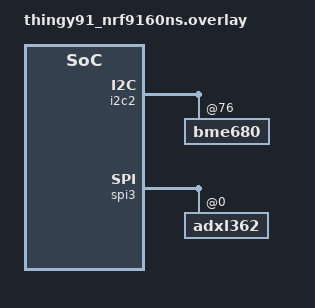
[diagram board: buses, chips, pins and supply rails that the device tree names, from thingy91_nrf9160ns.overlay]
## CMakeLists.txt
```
#
# Copyright (c) 2021 Nordic Semiconductor ASA
#
# SPDX-License-Identifier: LicenseRef-Nordic-5-Clause
#

cmake_minimum_required(VERSION 3.20.0)

find_package(Zephyr REQUIRED HINTS $ENV{ZEPHYR_BASE})
project(asset_tracker_v2)
zephyr_compile_definitions(PROJECT_NAME=${PROJECT_NAME})

# NORDIC SDK APP START
target_sources(app PRIVATE src/main.c)
# NORDIC SDK APP END

# Include source directory
target_include_directories(app PRIVATE src)
target_include_directories(app PRIVATE include/${BOARD}/)
zephyr_include_directories_ifdef(CONFIG_MEMFAULT configuration/memfault)

# Application directories
add_subdirectory(src/modules)
add_subdirectory(src/events)

# Add local copy of the BH1749 driver
add_subdirectory(drivers/bh1749)

add_subdirectory_ifdef(CONFIG_CLOUD_MODULE src/cloud)
add_subdirectory_ifdef(CONFIG_SENSOR_MODULE src/ext_sensors)
add_subdirectory_ifdef(CONFIG_WATCHDOG_APPLICATION src/watchdog)

# Include nRF modem library header file for PC builds.
# These are used throughout the application in type definitions.
if (CONFIG_BOARD_QEMU_X86 OR CONFIG_BOARD_NATIVE_POSIX)
        target_include_directories(app PRIVATE ${NRFXLIB_DIR}/nrf_modem/include/)

        # Make folder containing certificates global so that it can be located by the configured
        # cloud library.
        zephyr_include_directories(src/cloud-certs)

        target_compile_options(app PRIVATE
	        -DCONFIG_LTE_NEIGHBOR_CELLS_MAX=10)
endif()

if(CONFIG_ASSET_TRACKER_V2_LTO)
        target_compile_options(app PRIVATE "-flto")
endif()
```

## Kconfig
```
#
# Copyright (c) 2021 Nordic Semiconductor ASA
#
# SPDX-License-Identifier: LicenseRef-Nordic-5-Clause
#

# Asset Tracker v2 requires UART_INTERRUPT_DRIVEN to be enabled when SERIAL is used in order to
# receive AT Commands.
config UART_INTERRUPT_DRIVEN
	default y if SERIAL

menu "Asset Tracker v2"

config ASSET_TRACKER_V2_APP_VERSION
	string "Asset Tracker application firmware version"
	default "0.0.0-development"

config ASSET_TRACKER_V2_APP_VERSION_MAX_LEN
	int "Maximum length of the application firmware version"
	default 150

config ASSET_TRACKER_V2_LTO
	bool "Enable link time optimization"
	default y if (SIZE_OPTIMIZATIONS && !NATIVE_LIBRARY)
	# not for NATIVE_LIBRARY as otherwise the native simulator build will produce a warning when
	# mixing lto and non lto code causing twister runs to fail
	help
	  Compile the Asset Tracker application code with link time optimization enabled. This
	  option is only applied for the application code and not the libraries and external modules
	  that are linked in.

rsource "src/modules/Kconfig.modules_common"
rsource "src/modules/Kconfig.cloud_module"
rsource "src/cloud/Kconfig.lwm2m_integration"
rsource "src/modules/Kconfig.data_module"
rsource "src/modules/Kconfig.location_module"
rsource "src/modules/Kconfig.modem_module"
rsource "src/modules/Kconfig.sensor_module"
rsource "src/modules/Kconfig.ui_module"
rsource "src/modules/Kconfig.util_module"
rsource "src/modules/Kconfig.led_module"
rsource "src/modules/Kconfig.debug_module"

rsource "src/cloud/cloud_codec/Kconfig"
rsource "src/watchdog/Kconfig"
rsource "src/events/Kconfig"

rsource "drivers/bh1749/Kconfig"

endmenu

menu "Zephyr Kernel"
source "Kconfig.zephyr"
endmenu

module = APPLICATION_MODULE
module-str = Application module
source "subsys/logging/Kconfig.template.log_config"
```

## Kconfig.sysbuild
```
#
# Copyright (c) 2023 Nordic Semiconductor
#
# SPDX-License-Identifier: LicenseRef-Nordic-5-Clause
#

choice BOOTLOADER
	default BOOTLOADER_MCUBOOT if !BOARD_NATIVE_SIM
endchoice

config SECURE_BOOT_APPCORE
	default y if BOARD_NRF9160DK_NRF9160_NS \
		|| BOARD_NRF9151DK_NRF9151_NS \
		|| BOARD_NRF9161DK_NRF9161_NS

config WIFI_NRF70
	default y if BOARD_THINGY91X_NRF9151_NS

choice WIFI_NRF70_OPER_MODES
	default WIFI_NRF70_SCAN_ONLY if BOARD_THINGY91X_NRF9151_NS
endchoice

config PM_EXTERNAL_FLASH_MCUBOOT_SECONDARY
	default y if BOARD_NRF9151DK_NRF9151_NS || BOARD_NRF9161DK_NRF9161_NS
	default y if BOARD_NRF9160DK_NRF9160_NS \
		&& "${BOARD_REVISION}" != "0.1.0" \
		&& "${BOARD_REVISION}" != "0.7.0" \
		&& "${BOARD_REVISION}" != "0.7.1" \
		&& "${BOARD_REVISION}" != "0.8.0" \
		&& "${BOARD_REVISION}" != "0.8.2" \
		&& "${BOARD_REVISION}" != "0.8.3" \
		&& "${BOARD_REVISION}" != "0.8.5" \
		&& "${BOARD_REVISION}" != "0.9.0"

source "share/sysbuild/Kconfig"
```

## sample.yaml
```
sample:
  name: Asset Tracker v2 Application
tests:
  applications.asset_tracker_v2.nrf_cloud:
    sysbuild: true
    build_only: true
    build_on_all: true
    platform_allow:
      - nrf9160dk/nrf9160/ns
      - nrf9161dk/nrf9161/ns
      - nrf9151dk/nrf9151/ns
      - thingy91/nrf9160/ns
      - thingy91x/nrf9151/ns
      - native_sim
    integration_platforms:
      - nrf9160dk/nrf9160/ns
      - thingy91/nrf9160/ns
      - thingy91x/nrf9151/ns
      - native_sim
    tags:
      - ci_build
      - sysbuild
      - ci_applications_asset_tracker_v2
  applications.asset_tracker_v2.nrf_cloud-pgps:
    sysbuild: true
    build_only: true
    build_on_all: true
    platform_allow:
      - nrf9160dk/nrf9160/ns
      - nrf9161dk/nrf9161/ns
      - nrf9151dk/nrf9151/ns
      - thingy91/nrf9160/ns
    integration_platforms:
      - nrf9160dk/nrf9160/ns
      - thingy91/nrf9160/ns
    extra_args: EXTRA_CONF_FILE=overlay-pgps.conf
    tags:
      - ci_build
      - sysbuild
      - ci_applications_asset_tracker_v2
  applications.asset_tracker_v2.nrf_cloud-no-agnss:
    sysbuild: true
    build_only: true
    build_on_all: true
    platform_allow:
      - nrf9160dk/nrf9160/ns
      - nrf9161dk/nrf9161/ns
      - nrf9151dk/nrf9151/ns
      - thingy91/nrf9160/ns
      - thingy91x/nrf9151/ns
    integration_platforms:
      - nrf9160dk/nrf9160/ns
      - thingy91/nrf9160/ns
    extra_args: CONFIG_NRF_CLOUD_AGNSS=n
    tags:
      - ci_build
      - sysbuild
      - ci_applications_asset_tracker_v2
  applications.asset_tracker_v2.aws:
    sysbuild: true
    build_only: true
    build_on_all: true
    platform_allow:
      - nrf9160dk/nrf9160/ns
      - nrf9161dk/nrf9161/ns
      - nrf9151dk/nrf9151/ns
      - thingy91/nrf9160/ns
      - thingy91x/nrf9151/ns
      - native_sim
    integration_platforms:
      - nrf9160dk/nrf9160/ns
      - thingy91/nrf9160/ns
      - native_sim
    extra_configs:
      - CONFIG_AWS_IOT_BROKER_HOST_NAME="example-hostname.aws.com"
    extra_args: EXTRA_CONF_FILE="overlay-aws.conf"
    tags:
      - ci_build
      - sysbuild
      - ci_applications_asset_tracker_v2
  applications.asset_tracker_v2.aws-pgps:
    sysbuild: true
    build_only: true
    build_on_all: true
    platform_allow:
      - nrf9160dk/nrf9160/ns
      - nrf9161dk/nrf9161/ns
      - nrf9151dk/nrf9151/ns
      - thingy91/nrf9160/ns
      - thingy91x/nrf9151/ns
    integration_platforms:
      - nrf9160dk/nrf9160/ns
      - thingy91/nrf9160/ns
    extra_configs:
      - CONFIG_AWS_IOT_BROKER_HOST_NAME="example-hostname.aws.com"
    extra_args: EXTRA_CONF_FILE="overlay-aws.conf;overlay-pgps.conf"
    tags:
      - ci_build
      - sysbuild
      - ci_applications_asset_tracker_v2
  applications.asset_tracker_v2.aws-all:
    sysbuild: true
    build_only: true
    build_on_all: true
    platform_allow:
      - nrf9160dk/nrf9160/ns
      - nrf9161dk/nrf9161/ns
      - nrf9151dk/nrf9151/ns
      - thingy91/nrf9160/ns
    integration_platforms:
      - nrf9160dk/nrf9160/ns
      - thingy91/nrf9160/ns
    extra_configs:
      - CONFIG_AWS_IOT_BROKER_HOST_NAME="example-hostname.aws.com"
      - CONFIG_MEMFAULT_NCS_PROJECT_KEY="PROJECTKEY"
    extra_args: >
      EXTRA_CONF_FILE="overlay-aws.conf;overlay-pgps.conf;overlay-debug.conf;overlay-memfault.conf"
    tags:
      - ci_build
      - sysbuild
      - ci_applications_asset_tracker_v2
  applications.asset_tracker_v2.azure:
    sysbuild: true
    build_only: true
    build_on_all: true
    platform_allow:
      - nrf9160dk/nrf9160/ns
      - nrf9161dk/nrf9161/ns
      - nrf9151dk/nrf9151/ns
      - thingy91/nrf9160/ns
      - thingy91x/nrf9151/ns
      - native_sim
    integration_platforms:
      - nrf9160dk/nrf9160/ns
      - thingy91/nrf9160/ns
      - native_sim
    extra_configs:
      - CONFIG_AZURE_IOT_HUB_DPS_HOSTNAME="global.azure-devices-provisioning.net"
      - CONFIG_AZURE_IOT_HUB_DPS_ID_SCOPE="IDSCOPE"
    extra_args: EXTRA_CONF_FILE="overlay-azure.conf"
    tags:
      - ci_build
      - sysbuild
      - ci_applications_asset_tracker_v2
  applications.asset_tracker_v2.debug:
    sysbuild: true
    build_only: true
    build_on_all: true
    platform_allow:
      - nrf9160dk/nrf9160/ns
      - nrf9161dk/nrf9161/ns
      - nrf9151dk/nrf9151/ns
      - thingy91/nrf9160/ns
      - thingy91x/nrf9151/ns
      - native_sim
    integration_platforms:
      - nrf9160dk/nrf9160/ns
      - thingy91/nrf9160/ns
      - native_sim
    extra_args: EXTRA_CONF_FILE=overlay-debug.conf
    tags:
      - ci_build
      - sysbuild
      - ci_applications_asset_tracker_v2
  applications.asset_tracker_v2.debug-memfault:
    sysbuild: true
    build_only: true
    build_on_all: true
    platform_allow:
      - nrf9160dk/nrf9160/ns
      - nrf9161dk/nrf9161/ns
      - nrf9151dk/nrf9151/ns
      - thingy91/nrf9160/ns
      - thingy91x/nrf9151/ns
    integration_platforms:
      - nrf9160dk/nrf9160/ns
      - thingy91/nrf9160/ns
    extra_configs:
      - CONFIG_MEMFAULT_NCS_PROJECT_KEY="PROJECTKEY"
    extra_args: EXTRA_CONF_FILE="overlay-debug.conf;overlay-memfault.conf"
    tags:
      - ci_build
      - sysbuild
      - ci_applications_asset_tracker_v2
  applications.asset_tracker_v2.memfault:
    sysbuild: true
    build_only: true
    build_on_all: true
    platform_allow:
      - nrf9160dk/nrf9160/ns
      - nrf9161dk/nrf9161/ns
      - nrf9151dk/nrf9151/ns
      - thingy91/nrf9160/ns
      - thingy91x/nrf9151/ns
    integration_platforms:
      - nrf9160dk/nrf9160/ns
      - thingy91/nrf9160/ns
    extra_configs:
      - CONFIG_MEMFAULT_NCS_PROJECT_KEY="PROJECTKEY"
    extra_args: EXTRA_CONF_FILE=overlay-memfault.conf
    tags:
      - ci_build
      - sysbuild
      - ci_applications_asset_tracker_v2
  applications.asset_tracker_v2.low-power:
    sysbuild: true
    build_only: true
    build_on_all: true
    platform_allow:
      - nrf9160dk/nrf9160/ns
      - nrf9161dk/nrf9161/ns
      - nrf9151dk/nrf9151/ns
      - thingy91/nrf9160/ns
      - thingy91x/nrf9151/ns
    integration_platforms:
      - nrf9160dk/nrf9160/ns
      - thingy91/nrf9160/ns
    extra_args: EXTRA_CONF_FILE=overlay-low-power.conf
    tags:
      - ci_build
      - sysbuild
      - ci_applications_asset_tracker_v2
  applications.asset_tracker_v2.carrier.nrf9160dk:
    sysbuild: true
    build_only: true
    build_on_all: true
    platform_allow:
      - nrf9160dk/nrf9160/ns
    integration_platforms:
      - nrf9160dk/nrf9160/ns
    extra_args: EXTRA_CONF_FILE=overlay-carrier.conf
    tags:
      - ci_build
      - sysbuild
      - ci_applications_asset_tracker_v2
  applications.asset_tracker_v2.carrier.thingy91:
    sysbuild: true
    build_only: true
    build_on_all: true
    platform_allow:
      - thingy91/nrf9160/ns
    extra_args:
      - EXTRA_CONF_FILE=overlay-carrier.conf
      - SB_CONFIG_THINGY91_STATIC_PARTITIONS_LWM2M_CARRIER=y
    tags:
      - ci_build
      - sysbuild
      - ci_applications_asset_tracker_v2
  applications.asset_tracker_v2.carrier.nrf9161dk:
    sysbuild: true
    build_only: true
    build_on_all: true
    platform_allow: nrf9161dk/nrf9161/ns
    integration_platforms:
      - nrf9161dk/nrf9161/ns
    extra_args: EXTRA_CONF_FILE=overlay-carrier.conf
    tags:
      - ci_build
      - sysbuild
      - ci_applications_asset_tracker_v2
  applications.asset_tracker_v2.carrier.nrf9151dk:
    sysbuild: true
    build_only: true
    build_on_all: true
    platform_allow: nrf9151dk/nrf9151/ns
    integration_platforms:
      - nrf9151dk/nrf9151/ns
    extra_args: EXTRA_CONF_FILE=overlay-carrier.conf
    tags:
      - ci_build
      - sysbuild
      - ci_applications_asset_tracker_v2
  applications.asset_tracker_v2.lwm2m.bootstrap-low_power:
    sysbuild: true
    build_only: true
    build_on_all: true
    platform_allow:
      - nrf9160dk/nrf9160/ns
      - nrf9161dk/nrf9161/ns
      - nrf9151dk/nrf9151/ns
      - thingy91/nrf9160/ns
      - thingy91x/nrf9151/ns
    integration_platforms:
      - nrf9160dk/nrf9160/ns
      - thingy91/nrf9160/ns
    extra_configs:
      - CONFIG_LWM2M_RD_CLIENT_SUPPORT_BOOTSTRAP=y
    extra_args: EXTRA_CONF_FILE="overlay-lwm2m.conf;overlay-low-power.conf"
    tags:
      - ci_build
      - sysbuild
      - ci_applications_asset_tracker_v2
  applications.asset_tracker_v2.lwm2m.debug:
    sysbuild: true
    build_only: true
    build_on_all: true
    platform_allow:
      - nrf9160dk/nrf9160/ns
      - nrf9161dk/nrf9161/ns
      - nrf9151dk/nrf9151/ns
    integration_platforms:
      - nrf9160dk/nrf9160/ns
    extra_args: EXTRA_CONF_FILE="overlay-lwm2m.conf;overlay-debug.conf"
    tags:
      - ci_build
      - sysbuild
      - ci_applications_asset_tracker_v2
  applications.asset_tracker_v2.lwm2m.debug-modem_trace:
    sysbuild: true
    build_only: true
    build_on_all: true
    platform_allow:
      - nrf9160dk/nrf9160/ns
      - nrf9161dk/nrf9161/ns
      - nrf9151dk/nrf9151/ns
    integration_platforms:
      - nrf9160dk/nrf9160/ns
    extra_args:
      - EXTRA_CONF_FILE="overlay-lwm2m.conf;overlay-debug.conf"
      - asset_tracker_v2_SNIPPET="nrf91-modem-trace-uart;tfm-enable-share-uart"
    tags:
      - ci_build
      - sysbuild
      - ci_applications_asset_tracker_v2
  applications.asset_tracker_v2.lwm2m.modem_trace:
    sysbuild: true
    build_only: true
    build_on_all: true
    platform_allow:
      - nrf9160dk/nrf9160/ns
      - nrf9161dk/nrf9161/ns
      - nrf9151dk/nrf9151/ns
      - thingy91/nrf9160/ns
    integration_platforms:
      - nrf9160dk/nrf9160/ns
      - thingy91/nrf9160/ns
    extra_args:
      - EXTRA_CONF_FILE="overlay-lwm2m.conf"
      - asset_tracker_v2_SNIPPET="nrf91-modem-trace-uart;tfm-enable-share-uart"
    tags:
      - ci_build
      - sysbuild
      - ci_applications_asset_tracker_v2
  applications.asset_tracker_v2.lwm2m.memfault:
    sysbuild: true
    build_only: true
    build_on_all: true
    platform_allow:
      - nrf9160dk/nrf9160/ns
      - nrf9161dk/nrf9161/ns
      - nrf9151dk/nrf9151/ns
      - thingy91/nrf9160/ns
    integration_platforms:
      - nrf9160dk/nrf9160/ns
      - nrf9161dk/nrf9161/ns
      - nrf9151dk/nrf9151/ns
      - thingy91/nrf9160/ns
    extra_configs:
      - CONFIG_MEMFAULT_NCS_PROJECT_KEY="PROJECTKEY"
      - CONFIG_LOG_MODE_MINIMAL=y
    extra_args: EXTRA_CONF_FILE="overlay-lwm2m.conf;overlay-memfault.conf"
    tags:
      - ci_build
      - sysbuild
      - ci_applications_asset_tracker_v2
  applications.asset_tracker_v2.memfault-low-power:
    sysbuild: true
    build_only: true
    build_on_all: true
    platform_allow:
      - nrf9160dk/nrf9160/ns
      - nrf9161dk/nrf9161/ns
      - nrf9151dk/nrf9151/ns
      - thingy91/nrf9160/ns
      - thingy91x/nrf9151/ns
    integration_platforms:
      - nrf9160dk/nrf9160/ns
      - nrf9161dk/nrf9161/ns
      - nrf9151dk/nrf9151/ns
      - thingy91/nrf9160/ns
    extra_configs:
      - CONFIG_MEMFAULT_NCS_PROJECT_KEY="PROJECTKEY"
    extra_args: EXTRA_CONF_FILE="overlay-low-power.conf;overlay-memfault.conf"
    tags:
      - ci_build
      - sysbuild
      - ci_applications_asset_tracker_v2
  applications.asset_tracker_v2.nrf7002ek_wifi.nrf9160dk:
    sysbuild: true
    build_only: true
    integration_platforms:
      - nrf9160dk/nrf9160/ns
    platform_allow: nrf9160dk/nrf9160/ns
    extra_args:
      - SHIELD=nrf7002ek_nrf7000
      - EXTRA_CONF_FILE=overlay-nrf7002ek-wifi-scan-only.conf
      - SB_CONFIG_WIFI_NRF70=y
      - SB_CONFIG_WIFI_NRF70_SCAN_ONLY=y
    tags:
      - ci_build
      - sysbuild
      - ci_applications_asset_tracker_v2
  applications.asset_tracker_v2.nrf7002ek_wifi.nrf9161dk:
    sysbuild: true
    build_only: true
    integration_platforms:
      - nrf9161dk/nrf9161/ns
    platform_allow: nrf9161dk/nrf9161/ns
    extra_args:
      - SHIELD=nrf7002ek_nrf7000
      - EXTRA_CONF_FILE=overlay-nrf7002ek-wifi-scan-only.conf
      - SB_CONFIG_WIFI_NRF70=y
      - SB_CONFIG_WIFI_NRF70_SCAN_ONLY=y
    tags:
      - ci_build
      - sysbuild
      - ci_applications_asset_tracker_v2
  applications.asset_tracker_v2.nrf7002ek_wifi.nrf9151dk:
    sysbuild: true
    build_only: true
    integration_platforms:
      - nrf9151dk/nrf9151/ns
    platform_allow: nrf9151dk/nrf9151/ns
    extra_args:
      - SHIELD=nrf7002ek_nrf7000
      - EXTRA_CONF_FILE=overlay-nrf7002ek-wifi-scan-only.conf
      - SB_CONFIG_WIFI_NRF70=y
      - SB_CONFIG_WIFI_NRF70_SCAN_ONLY=y
    tags:
      - ci_build
      - sysbuild
      - ci_applications_asset_tracker_v2
  applications.asset_tracker_v2.nrf7002ek_wifi-debug:
    sysbuild: true
    build_only: true
    integration_platforms:
      - nrf9160dk/nrf9160/ns
      - nrf9161dk/nrf9161/ns
      - nrf9151dk/nrf9151/ns
    platform_allow:
      - nrf9160dk/nrf9160/ns
      - nrf9161dk/nrf9161/ns
      - nrf9151dk/nrf9151/ns
    extra_args:
      - SHIELD=nrf7002ek_nrf7000
      - EXTRA_CONF_FILE="overlay-nrf7002ek-wifi-scan-only.conf;overlay-debug.conf"
      - SB_CONFIG_WIFI_NRF70=y
      - SB_CONFIG_WIFI_NRF70_SCAN_ONLY=y
    tags:
      - ci_build
      - sysbuild
      - ci_applications_asset_tracker_v2
  # Configuration which will be used by the positioning CI integration job to verify PRs
  applications.asset_tracker_v2.integration_config_positioning:
    sysbuild: true
    build_only: true
    extra_configs:
      - CONFIG_MODEM_ANTENNA_GNSS_EXTERNAL=y
      - CONFIG_LOCATION_LOG_LEVEL_DBG=y
      - CONFIG_LOG_BUFFER_SIZE=2048
    extra_args: asset_tracker_v2_SNIPPET="nrf91-modem-trace-uart"
    integration_platforms:
      - nrf9151dk/nrf9151/ns
    platform_allow:
      - nrf9151dk/nrf9151/ns
    tags:
      - ci_build
      - sysbuild
      - ci_applications_asset_tracker_v2
```

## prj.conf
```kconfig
#
# Copyright (c) 2021 Nordic Semiconductor ASA
#
# SPDX-License-Identifier: LicenseRef-Nordic-5-Clause
#

# General config
CONFIG_PICOLIBC=y
CONFIG_ASSERT=y
CONFIG_REBOOT=y
CONFIG_FPU=y

# Heap and stacks
CONFIG_HEAP_MEM_POOL_SIZE=47250
CONFIG_MAIN_STACK_SIZE=2048
CONFIG_SYSTEM_WORKQUEUE_STACK_SIZE=4096
CONFIG_HW_STACK_PROTECTION=y
# Increase AT monitor heap size to be able to fit both neighbor cell measurement
# and other AT notifications that may come in rapid succession.
CONFIG_AT_MONITOR_HEAP_SIZE=1024

# Logging
CONFIG_LOG=y
CONFIG_LOG_MODE_DEFERRED=y

# nRF modem library
CONFIG_NRF_MODEM_LIB=y
CONFIG_NRF_MODEM_LIB_ON_FAULT_APPLICATION_SPECIFIC=y

# AT Host library - Used to send AT commands directy from an UART terminal and to allow
#		    integration with nRF Connect for Desktop LTE Link monitor application.
CONFIG_AT_HOST_LIBRARY=y

# Network
CONFIG_NETWORKING=y
CONFIG_NET_NATIVE=n
CONFIG_NET_SOCKETS=y
CONFIG_NET_SOCKETS_OFFLOAD=y
CONFIG_NET_IPV6=y
CONFIG_NET_IPV4=y

# LTE link control
## Power saving timers.
### 320 hours PSM.
CONFIG_LTE_PSM_REQ=y
CONFIG_LTE_PSM_REQ_RPTAU="11000001"
### 20 seconds active time.
CONFIG_LTE_PSM_REQ_RAT="00001010"
### Enable required modules
CONFIG_LTE_LC_EDRX_MODULE=y
CONFIG_LTE_LC_NEIGHBOR_CELL_MEAS_MODULE=y
CONFIG_LTE_LC_PSM_MODULE=y
CONFIG_LTE_LC_MODEM_SLEEP_MODULE=y

# Settings - Used to store real-time device configuration to flash.
CONFIG_SETTINGS=y
CONFIG_SETTINGS_FCB=y
CONFIG_FCB=y

# FOTA
CONFIG_FOTA_DOWNLOAD=y
CONFIG_DFU_TARGET=y
CONFIG_DOWNLOADER=y
CONFIG_DOWNLOADER_STACK_SIZE=4096
CONFIG_DOWNLOADER_MAX_HOSTNAME_SIZE=128

# Flash - Used in FOTA, settings and storage for P-GPS.
CONFIG_FLASH=y
CONFIG_FLASH_PAGE_LAYOUT=y
CONFIG_FLASH_MAP=y
CONFIG_STREAM_FLASH=y
CONFIG_MPU_ALLOW_FLASH_WRITE=y

# MCUBOOT
CONFIG_BOOTLOADER_MCUBOOT=y
CONFIG_IMG_MANAGER=y
CONFIG_MCUBOOT_IMG_MANAGER=y
CONFIG_IMG_ERASE_PROGRESSIVELY=y
CONFIG_SECURE_BOOT=y

# Watchdog
CONFIG_WATCHDOG_APPLICATION=y

# Application Event Manager
CONFIG_APP_EVENT_MANAGER=y
CONFIG_APP_EVENT_MANAGER_LOG_EVENT_TYPE=n

# cJSON - Used in cloud data encoding.
CONFIG_CJSON_LIB=y

# CAF - Common Application Framework
CONFIG_CAF=y
CONFIG_LED=y
CONFIG_CAF_LEDS=y
CONFIG_CAF_INIT_LOG_LED_READY_EVENTS=n
CONFIG_CAF_INIT_LOG_LED_EVENTS=n
CONFIG_CAF_INIT_LOG_MODULE_STATE_EVENTS=n

# Location related configuration
CONFIG_LOCATION=y
CONFIG_LOCATION_REQUEST_DEFAULT_METHOD_FIRST_GNSS=y
CONFIG_LOCATION_REQUEST_DEFAULT_METHOD_SECOND_CELLULAR=y
CONFIG_LOCATION_REQUEST_DEFAULT_GNSS_TIMEOUT=90000
CONFIG_LOCATION_DATA_DETAILS=y
CONFIG_LOCATION_LOG_LEVEL_WRN=y

# Default cloud transport service
CONFIG_NRF_CLOUD_MQTT=y
CONFIG_HW_ID_LIBRARY=y
CONFIG_HW_ID_LIBRARY_SOURCE_IMEI=y

# nRF Cloud support
CONFIG_NRF_CLOUD=y
```

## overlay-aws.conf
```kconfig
#
# Copyright (c) 2021 Nordic Semiconductor ASA
#
# SPDX-License-Identifier: LicenseRef-Nordic-5-Clause
#

CONFIG_AWS_IOT=y
CONFIG_AWS_IOT_TOPIC_UPDATE_DELTA_SUBSCRIBE=y
CONFIG_AWS_IOT_TOPIC_GET_REJECTED_SUBSCRIBE=y
CONFIG_AWS_IOT_AUTO_DEVICE_SHADOW_REQUEST=y
CONFIG_MQTT_HELPER_RX_TX_BUFFER_SIZE=2048

# Options that must be configured in order to establish a connection.
CONFIG_MQTT_HELPER_SEC_TAG=42
CONFIG_AWS_IOT_BROKER_HOST_NAME=""

# MQTT Transport library
# Maximum specified MQTT keepalive timeout for AWS IoT is 1200 seconds.
CONFIG_MQTT_KEEPALIVE=1200
```

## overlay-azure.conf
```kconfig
#
# Copyright (c) 2021 Nordic Semiconductor ASA
#
# SPDX-License-Identifier: LicenseRef-Nordic-5-Clause
#

CONFIG_AZURE_IOT_HUB=y
CONFIG_AZURE_IOT_HUB_DPS=y
CONFIG_AZURE_IOT_HUB_AUTO_DEVICE_TWIN_REQUEST=y

# Increase the number of maximum message properties that can be parsed by the Azure IoT Hub library.
# Needed to be able to parse P-GPS responses.
CONFIG_AZURE_IOT_HUB_MSG_PROPERTY_RECV_MAX_COUNT=4

# Azure IoT Hub options that must be configured in order to establish a connection.
CONFIG_AZURE_IOT_HUB_DPS_HOSTNAME="global.azure-devices-provisioning.net"
CONFIG_AZURE_IOT_HUB_DPS_ID_SCOPE=""

# MQTT helper library
CONFIG_MQTT_HELPER_RX_TX_BUFFER_SIZE=2048
CONFIG_MQTT_HELPER_STACK_SIZE=4096
CONFIG_MQTT_HELPER_SEC_TAG=11

# MQTT Transport library
# Maximum specified MQTT keepalive timeout for Azure IoT Hub is 1177 seconds.
CONFIG_MQTT_KEEPALIVE=1177
```

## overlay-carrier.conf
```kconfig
#
# Copyright (c) 2021 Nordic Semiconductor ASA
#
# SPDX-License-Identifier: LicenseRef-Nordic-5-Clause
#

CONFIG_LWM2M_CARRIER=y

# LwM2M carrier is only compiled for hard-float
CONFIG_FP_HARDABI=y

# SMS library
CONFIG_SMS=y

# PDN management support
CONFIG_PDN=y

# AT Monitor is used by PDN library
CONFIG_AT_MONITOR=y

# Downloader for DFU
CONFIG_DOWNLOADER_MAX_FILENAME_SIZE=230

# Modem info
CONFIG_MODEM_INFO_BUFFER_SIZE=512

# Non-volatile Storage
CONFIG_NVS=y
CONFIG_MPU_ALLOW_FLASH_WRITE=y

# Default partition for NVS is unused
CONFIG_PM_PARTITION_SIZE_NVS_STORAGE=0

# DFU target library
CONFIG_DFU_TARGET=y

# Asserts
CONFIG_ASSERT_VERBOSE=n

# IPv4 (IPv6 is enabled by default)
CONFIG_NET_IPV4=y
```

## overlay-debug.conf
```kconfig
#
# Copyright (c) 2021 Nordic Semiconductor ASA
#
# SPDX-License-Identifier: LicenseRef-Nordic-5-Clause
#

# Forces a maximal log level for all modules.
# Modules saturates their specified level if it is greater than this option,
# otherwise they use the level specified by this option instead of their default
# or whatever was manually set. Levels are:
#
# 0 OFF, logging is turned off
# 1 ERROR, maximal level set to LOG_LEVEL_ERR
# 2 WARNING, maximal level set to LOG_LEVEL_WRN
# 3 INFO, maximal level set to LOG_LEVEL_INFO
# 4 DEBUG, maximal level set to LOG_LEVEL_DBG
CONFIG_LOG_MAX_LEVEL=4

# Increase log buffer size to prevent logs being dropped.
CONFIG_LOG_BUFFER_SIZE=2048

# Disable routing of printk() through the logging subsystem.
# This is a workaround to ensure that long strings are printed properly.
CONFIG_LOG_PRINTK=n

# Module debug configurations.
CONFIG_APPLICATION_MODULE_LOG_LEVEL_DBG=y
CONFIG_CLOUD_MODULE_LOG_LEVEL_DBG=y
CONFIG_DATA_MODULE_LOG_LEVEL_DBG=y
CONFIG_LOCATION_MODULE_LOG_LEVEL_DBG=y
CONFIG_MODEM_MODULE_LOG_LEVEL_DBG=y
CONFIG_SENSOR_MODULE_LOG_LEVEL_DBG=y
CONFIG_UI_MODULE_LOG_LEVEL_DBG=y
CONFIG_UTIL_MODULE_LOG_LEVEL_DBG=y
CONFIG_DEBUG_MODULE_LOG_LEVEL_DBG=y

# Cloud integration layer debug logging
CONFIG_CLOUD_INTEGRATION_LOG_LEVEL_DBG=y

# Application Watchdog debug logging
CONFIG_WATCHDOG_LOG_LEVEL_DBG=y

# Cloud codec debug logging
CONFIG_CLOUD_CODEC_LOG_LEVEL_DBG=y

# Location library
CONFIG_LOCATION_LOG_LEVEL_DBG=y

# nRF Cloud
CONFIG_NRF_CLOUD_LOG_LEVEL_DBG=y

# Date time
CONFIG_DATE_TIME_LOG_LEVEL_DBG=y

# Settings
CONFIG_SETTINGS_LOG_LEVEL_DBG=y

# Flash
CONFIG_STREAM_FLASH_LOG_LEVEL_DBG=y

# Debug module
CONFIG_DEBUG_MODULE=y

# QoS library
CONFIG_QOS_LOG_LEVEL_DBG=y
```

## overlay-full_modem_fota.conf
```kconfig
#
# Copyright (c) 2022 Nordic Semiconductor ASA
#
# SPDX-License-Identifier: LicenseRef-Nordic-5-Clause
#

# Full Modem FOTA
CONFIG_NRF_CLOUD_FOTA_FULL_MODEM_UPDATE=y
CONFIG_MAIN_STACK_SIZE=2048
# Disable AT host library as it's incompatible with the FMFU's requirement
# to initialize the modem library
CONFIG_AT_HOST_LIBRARY=n
CONFIG_SPI=y
CONFIG_SPI_NOR=y
```

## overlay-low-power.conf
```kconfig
#
# Copyright (c) 2021 Nordic Semiconductor ASA
#
# SPDX-License-Identifier: LicenseRef-Nordic-5-Clause
#

# This file contains configurations to achieve the lowest power consumption by
# disabling LEDs and logging over UART.

# Disable serial interface.
CONFIG_SERIAL=n

# Disable LEDs
CONFIG_LED_CONTROL=n

# Disable UART console.
CONFIG_UART_CONSOLE=n

# Disable event logging.
CONFIG_APP_EVENT_MANAGER_SHOW_EVENTS=n

# Disable AT host library.
CONFIG_AT_HOST_LIBRARY=n

# Disable logging
CONFIG_LOG=n

# Disable TFM logging
CONFIG_TFM_LOG_LEVEL_SILENCE=y
```

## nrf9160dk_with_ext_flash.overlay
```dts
/*
 * Copyright (c) 2023 Nordic Semiconductor ASA
 *
 * SPDX-License-Identifier: LicenseRef-Nordic-5-Clause
 */

 /* The mx25r64 definition would normally be included when specifying a nrf9160dk_nrf9160_ns
  * board revision >= 0.14.0, but unfortunately twister has a bug that prevents the revision
  * overlay to get loaded when testing the sample. */
  &spi3 {
	cs-gpios = <&arduino_header 16 GPIO_ACTIVE_LOW>, /* D10 */
		   <&gpio0 25 GPIO_ACTIVE_LOW>;
	mx25r64: mx25r6435f@1 {
		compatible = "jedec,spi-nor";
		reg = <1>;
		status = "okay";
		spi-max-frequency = <8000000>;
		jedec-id = [c2 28 17];
		sfdp-bfp = [
			e5 20 f1 ff  ff ff ff 03  44 eb 08 6b  08 3b 04 bb
			ee ff ff ff  ff ff 00 ff  ff ff 00 ff  0c 20 0f 52
			10 d8 00 ff  23 72 f5 00  82 ed 04 cc  44 83 68 44
			30 b0 30 b0  f7 c4 d5 5c  00 be 29 ff  f0 d0 ff ff
		];
		size = <67108864>;
		mxicy,mx25r-power-mode = "high-performance";
	};
};

/ {
	aliases {
		ext-flash = &mx25r64;
	};

	/* Configure partition manager to use mx25r64 as the external flash */
	chosen {
		nordic,pm-ext-flash = &mx25r64;
	};
};
```

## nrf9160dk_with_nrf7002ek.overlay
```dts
/*
 * Copyright (c) 2022 Nordic Semiconductor ASA
 *
 * SPDX-License-Identifier: LicenseRef-Nordic-5-Clause
 */

/* Use high drive mode on SPI pins that handle communication with nRF7002
 * so that SCK frequency > 4 MHz can be used. */
 &spi3_default {
	group1 {
		nordic,drive-mode = <NRF_DRIVE_H0H1>;
	};
};

/* Disabled because of conflicts on P0.00 and P0.01 - Arduino pins D0 and D1
 * (iovdd-ctrl-gpios and bucken-gpios in nrf7002ek_nrf7002, respectively). */
&uart1 {
	status = "disabled";
};
```

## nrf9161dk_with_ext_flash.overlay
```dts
/*
 * Copyright (c) 2023 Nordic Semiconductor ASA
 *
 * SPDX-License-Identifier: LicenseRef-Nordic-5-Clause
 */

 &spi3 {
	compatible = "nordic,nrf-spim";
	status = "okay";
	cs-gpios = <&arduino_header 16 GPIO_ACTIVE_LOW>, /* D10 */
		   <&gpio0 20 GPIO_ACTIVE_LOW>;


	gd25lb256: gd25lb256e3ir@1 {
		compatible = "jedec,spi-nor";
		status = "disabled";
		reg = <1>;
		spi-max-frequency = <60000000>;
		jedec-id = [c8 67 19];
		sfdp-bfp = [
			e5 20 ea ff  ff ff ff 0f  44 eb 08 6b  00 3b 00 bb
			fe ff ff ff  ff ff 00 ff  ff ff 44 eb  0c 20 0f 52
			10 d8 00 ff  d5 31 b1 fe  82 e4 14 4c  ec 60 06 33
			7a 75 7a 75  04 bd d5 5c  29 06 74 00  08 50 00 01
		];
		size = <268435456>;
		has-dpd;
		t-enter-dpd = <3000>;
		t-exit-dpd = <30000>;
	};
};

/ {
	aliases {
		ext-flash = &gd25lb256;
	};

	/* Configure partition manager to use gd25lb256 as the external flash */
	chosen {
		nordic,pm-ext-flash = &gd25lb256;
	};
};
```

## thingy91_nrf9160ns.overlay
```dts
/*
 * Copyright (c) 2021 Nordic Semiconductor ASA
 *
 * SPDX-License-Identifier: LicenseRef-Nordic-5-Clause
 */

/ {
        aliases {
                temp-sensor = &bme680;
                humidity-sensor = &bme680;
                accelerometer = &adxl362;
        };
};

&i2c2 {
        bme680: bme680@76 {};
};

&spi3 {
        adxl362: adxl362@0 {};
};
```

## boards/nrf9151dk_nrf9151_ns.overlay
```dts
/*
 * Copyright (c) 2024 Nordic Semiconductor ASA
 *
 * SPDX-License-Identifier: LicenseRef-Nordic-5-Clause
 */

/	{
	/delete-node/ leds;

	leds0 {
		compatible = "gpio-leds";
		status = "okay";
		label = "LED0";
		led0: led_0 {
			status = "okay";
			gpios = <&gpio0 0 0>;
			label = "Green LED 1";
		};
	};

	leds1 {
		compatible = "gpio-leds";
		status = "okay";
		label = "LED1";
		led1: led_1 {
			gpios = <&gpio0 1 0>;
			label = "Green LED 2";
		};
	};

	leds2 {
		compatible = "gpio-leds";
		status = "okay";
		label = "LED2";
		led2: led_2 {
			gpios = <&gpio0 4 0>;
			label = "Green LED 3";
		};
	};

	leds3 {
		compatible = "gpio-leds";
		status = "okay";
		label = "LED3";
		led3: led_3 {
			gpios = <&gpio0 5 0>;
			label = "Green LED 4";
		};
	};

	/* Configure partition manager to use gd25wb256 as the external flash */
	chosen {
		nordic,pm-ext-flash = &gd25wb256;
	};

	aliases {
		ext-flash = &gd25wb256;
	};
};

&gd25wb256 {
	status = "okay";
};
```

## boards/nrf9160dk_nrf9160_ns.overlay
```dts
/	{
	/delete-node/ leds;

	leds0 {
		compatible = "gpio-leds";
		status = "okay";
		label = "LED0";
		led0: led_0 {
			status = "okay";
			gpios = <&gpio0 2 0>;
			label = "Green LED 1";
		};
	};

	leds1 {
		compatible = "gpio-leds";
		status = "okay";
		label = "LED1";
		led1: led_1 {
			gpios = <&gpio0 3 0>;
			label = "Green LED 2";
		};
	};

	leds2 {
		compatible = "gpio-leds";
		status = "okay";
		label = "LED2";
		led2: led_2 {
			gpios = <&gpio0 4 0>;
			label = "Green LED 3";
		};
	};

	leds3 {
		compatible = "gpio-leds";
		status = "okay";
		label = "LED3";
		led3: led_3 {
			gpios = <&gpio0 5 0>;
			label = "Green LED 4";
		};
	};
};
```

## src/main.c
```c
/*
 * Copyright (c) 2021 Nordic Semiconductor ASA
 *
 * SPDX-License-Identifier: LicenseRef-Nordic-5-Clause
 */

#include <zephyr/kernel.h>
#include <stdio.h>
#include <string.h>
#include <stdlib.h>
#include <app_event_manager.h>
#include <modem/nrf_modem_lib.h>
#include <zephyr/sys/reboot.h>
#include <net/nrf_cloud.h>

/* Module name is used by the Application Event Manager macros in this file */
#define MODULE main
#include <caf/events/module_state_event.h>

#include "modules_common.h"
#include "events/app_module_event.h"
#include "events/cloud_module_event.h"
#include "events/data_module_event.h"
#include "events/sensor_module_event.h"
#include "events/util_module_event.h"
#include "events/modem_module_event.h"

#include <zephyr/logging/log.h>
#include <zephyr/logging/log_ctrl.h>

LOG_MODULE_REGISTER(MODULE, CONFIG_APPLICATION_MODULE_LOG_LEVEL);

/* Message structure. Events from other modules are converted to messages
 * in the Application Event Manager handler, and then queued up in the message queue
 * for processing in the main thread.
 */
struct app_msg_data {
	union {
		struct cloud_module_event cloud;
		struct sensor_module_event sensor;
		struct data_module_event data;
		struct util_module_event util;
		struct modem_module_event modem;
		struct app_module_event app;
	} module;
};

/* Application module super states. */
static enum state_type {
	STATE_INIT,
	STATE_RUNNING,
	STATE_SHUTDOWN
} state;

/* Application sub states. The application can be in either active or passive
 * mode.
 *
 * Active mode: Sensor data and GNSS position is acquired at a configured
 *		interval and sent to cloud.
 *
 * Passive mode: Sensor data and GNSS position is acquired when movement is
 *		 detected, or after the configured movement timeout occurs.
 */
static enum sub_state_type {
	SUB_STATE_ACTIVE_MODE,
	SUB_STATE_PASSIVE_MODE,
} sub_state;

/* Internal copy of the device configuration. */
static struct cloud_data_cfg app_cfg;

/* Variable that keeps track whether modem static data has been successfully sampled by the
 * modem module. Modem static data does not change and only needs to be sampled and sent to cloud
 * once.
 */
static bool modem_static_sampled;

/* Variable that is set high whenever a sample request is ongoing. */
static bool sample_request_ongoing;

/* Variable that is set high whenever the device is considered active (under movement). */
static bool activity;

/* Timer callback used to signal when timeout has occurred both in active
 * and passive mode.
 */
static void data_sample_timer_handler(struct k_timer *timer);

/* Application module message queue. */
#define APP_QUEUE_ENTRY_COUNT		10
#define APP_QUEUE_BYTE_ALIGNMENT	4

/* Data fetching timeouts */
#define DATA_FETCH_TIMEOUT_DEFAULT 2

K_MSGQ_DEFINE(msgq_app, sizeof(struct app_msg_data), APP_QUEUE_ENTRY_COUNT,
	      APP_QUEUE_BYTE_ALIGNMENT);

/* Data sample timer used in active mode. */
K_TIMER_DEFINE(data_sample_timer, data_sample_timer_handler, NULL);

/* Movement timer used to detect movement timeouts in passive mode. */
K_TIMER_DEFINE(movement_timeout_timer, data_sample_timer_handler, NULL);

/* Movement resolution timer decides the period after movement that consecutive
 * movements are ignored and do not cause data collection. This is used to
 * lower power consumption by limiting how often GNSS search is performed and
 * data is sent on air.
 */
K_TIMER_DEFINE(movement_resolution_timer, NULL, NULL);

/* Module data structure to hold information of the application module, which
 * opens up for using convenience functions available for modules.
 */
static struct module_data self = {
	.name = "app",
	.msg_q = &msgq_app,
	.supports_shutdown = true,
};

/* Convenience functions used in internal state handling. */
static char *state2str(enum state_type new_state)
{
	switch (new_state) {
	case STATE_INIT:
		return "STATE_INIT";
	case STATE_RUNNING:
		return "STATE_RUNNING";
	case STATE_SHUTDOWN:
		return "STATE_SHUTDOWN";
	default:
		return "Unknown";
	}
}

static char *sub_state2str(enum sub_state_type new_state)
{
	switch (new_state) {
	case SUB_STATE_ACTIVE_MODE:
		return "SUB_STATE_ACTIVE_MODE";
	case SUB_STATE_PASSIVE_MODE:
		return "SUB_STATE_PASSIVE_MODE";
	default:
		return "Unknown";
	}
}

static void state_set(enum state_type new_state)
{
	if (new_state == state) {
		LOG_DBG("State: %s", state2str(state));
		return;
	}

	LOG_DBG("State transition %s --> %s",
		state2str(state),
		state2str(new_state));

	state = new_state;
}

static void sub_state_set(enum sub_state_type new_state)
{
	if (new_state == sub_state) {
		LOG_DBG("Sub state: %s", sub_state2str(sub_state));
		return;
	}

	LOG_DBG("Sub state transition %s --> %s",
		sub_state2str(sub_state),
		sub_state2str(new_state));

	sub_state = new_state;
}

#if defined(CONFIG_NRF_MODEM_LIB)

static void on_modem_lib_dfu(int dfu_res, void *ctx)
{
	switch (dfu_res) {
	case NRF_MODEM_DFU_RESULT_OK:
		LOG_DBG("MODEM UPDATE OK. Running new firmware");
		break;
	case NRF_MODEM_DFU_RESULT_UUID_ERROR:
	case NRF_MODEM_DFU_RESULT_AUTH_ERROR:
		LOG_ERR("MODEM UPDATE ERROR 0x%x. Running old firmware", dfu_res);
		break;
	case NRF_MODEM_DFU_RESULT_HARDWARE_ERROR:
	case NRF_MODEM_DFU_RESULT_INTERNAL_ERROR:
		LOG_ERR("MODEM UPDATE FATAL ERROR 0x%x. Modem failure", dfu_res);
		break;
	case NRF_MODEM_DFU_RESULT_VOLTAGE_LOW:
		LOG_ERR("MODEM UPDATE CANCELLED 0x%x.", dfu_res);
		LOG_ERR("Please reboot once you have sufficient power for the DFU");
		break;
	default:
		/* Unknown DFU result code */
		LOG_ERR("nRF modem DFU failed, error: 0x%x", dfu_res);
		break;
	}
}

NRF_MODEM_LIB_ON_DFU_RES(main_dfu_hook, on_modem_lib_dfu, NULL);

/* Check the return code from nRF modem library initialization to ensure that
 * the modem is rebooted or an error condition occurred during library initialization.
 */
static void modem_init(void)
{
	int ret;

	ret = nrf_modem_lib_init();
	if (ret == 0) {
		LOG_DBG("nRF Modem Library initialized successfully");
		return;
	}

	LOG_ERR("nRF modem lib initialization failed, error: %d", ret);

#if defined(CONFIG_NRF_CLOUD_FOTA)
	/* Ignore return value, rebooting below */
	(void)nrf_cloud_fota_pending_job_validate(NULL);
#endif
	LOG_DBG("Rebooting...");
	LOG_PANIC();
	sys_reboot(SYS_REBOOT_COLD);
}
#endif /* CONFIG_NRF_MODEM_LIB */

/* Application Event Manager handler. Puts event data into messages and adds them to the
 * application message queue.
 */
static bool app_event_handler(const struct app_event_header *aeh)
{
	struct app_msg_data msg = {0};
	bool enqueue_msg = false;

	if (is_cloud_module_event(aeh)) {
		struct cloud_module_event *evt = cast_cloud_module_event(aeh);

		msg.module.cloud = *evt;
		enqueue_msg = true;
	}

	if (is_app_module_event(aeh)) {
		struct app_module_event *evt = cast_app_module_event(aeh);

		msg.module.app = *evt;
		enqueue_msg = true;
	}

	if (is_data_module_event(aeh)) {
		struct data_module_event *evt = cast_data_module_event(aeh);

		msg.module.data = *evt;
		enqueue_msg = true;
	}

	if (is_sensor_module_event(aeh)) {
		struct sensor_module_event *evt = cast_sensor_module_event(aeh);

		msg.module.sensor = *evt;
		enqueue_msg = true;
	}

	if (is_util_module_event(aeh)) {
		struct util_module_event *evt = cast_util_module_event(aeh);

		msg.module.util = *evt;
		enqueue_msg = true;
	}

	if (is_modem_module_event(aeh)) {
		struct modem_module_event *evt = cast_modem_module_event(aeh);

		msg.module.modem = *evt;
		enqueue_msg = true;
	}

	if (enqueue_msg) {
		int err = module_enqueue_msg(&self, &msg);

		if (err) {
			LOG_ERR("Message could not be enqueued");
			SEND_ERROR(app, APP_EVT_ERROR, err);
		}
	}

	return false;
}

static void data_sample_timer_handler(struct k_timer *timer)
{
	ARG_UNUSED(timer);

	/* Cancel if a previous sample request has not completed. */
	if (sample_request_ongoing) {
		return;
	}

	/* Cancel if the data sample timer expired and device is not under activity in passive mode.
	 * Movement timeout timer triggers sampling also when there is no movement.
	 */
	if (timer == &data_sample_timer && sub_state == SUB_STATE_PASSIVE_MODE && !activity) {
		return;
	}

	SEND_EVENT(app, APP_EVT_DATA_GET_ALL);
}

/* Static module functions. */
static void passive_mode_timers_start_all(void)
{
	LOG_DBG("Device mode: Passive");
	LOG_DBG("Start movement timeout: %d seconds interval", app_cfg.movement_timeout);

	LOG_DBG("%d seconds until movement can trigger a new data sample/publication",
		app_cfg.movement_resolution);

	k_timer_start(&data_sample_timer,
		      K_SECONDS(app_cfg.movement_resolution),
		      K_SECONDS(app_cfg.movement_resolution));

	k_timer_start(&movement_resolution_timer,
		      K_SECONDS(app_cfg.movement_resolution),
		      K_SECONDS(0));

	k_timer_start(&movement_timeout_timer,
		      K_SECONDS(app_cfg.movement_timeout),
		      K_SECONDS(app_cfg.movement_timeout));
}

static void active_mode_timers_start_all(void)
{
	LOG_DBG("Device mode: Active");
	LOG_DBG("Start data sample timer: %d seconds interval", app_cfg.active_wait_timeout);

	k_timer_start(&data_sample_timer,
		      K_SECONDS(app_cfg.active_wait_timeout),
		      K_SECONDS(app_cfg.active_wait_timeout));

	k_timer_stop(&movement_resolution_timer);
	k_timer_stop(&movement_timeout_timer);
}

static void activity_event_handle(enum sensor_module_event_type sensor_event)
{
	__ASSERT(((sensor_event == SENSOR_EVT_MOVEMENT_ACTIVITY_DETECTED) ||
		  (sensor_event == SENSOR_EVT_MOVEMENT_INACTIVITY_DETECTED)),
		  "Unknown event");

	activity = (sensor_event == SENSOR_EVT_MOVEMENT_ACTIVITY_DETECTED) ? true : false;

	if (sample_request_ongoing) {
		LOG_DBG("Sample request ongoing, abort request.");
		return;
	}

	if ((sensor_event == SENSOR_EVT_MOVEMENT_ACTIVITY_DETECTED) &&
	    (k_timer_remaining_get(&movement_resolution_timer) != 0)) {
		LOG_DBG("Movement resolution timer has not expired, abort request.");
		return;
	}

	SEND_EVENT(app, APP_EVT_DATA_GET_ALL);
	passive_mode_timers_start_all();
}

static void data_get(void)
{
	struct app_module_event *app_module_event = new_app_module_event();

	__ASSERT(app_module_event, "Not enough heap left to allocate event");

	size_t count = 0;

	/* Set a low sample timeout. If location is requested, the sample timeout
	 * will be increased to accommodate the location request.
	 */
	app_module_event->timeout = DATA_FETCH_TIMEOUT_DEFAULT;

	/* Specify which data that is to be included in the transmission. */
	app_module_event->data_list[count++] = APP_DATA_MODEM_DYNAMIC;
	if (!modem_static_sampled) {
		app_module_event->data_list[count++] = APP_DATA_MODEM_STATIC;
	}

	if (IS_ENABLED(CONFIG_SENSOR_MODULE)) {
		app_module_event->data_list[count++] = APP_DATA_BATTERY;
		app_module_event->data_list[count++] = APP_DATA_ENVIRONMENTAL;
	}

	if (IS_ENABLED(CONFIG_LOCATION_MODULE) &&
	    (!app_cfg.no_data.neighbor_cell || !app_cfg.no_data.gnss || !app_cfg.no_data.wifi)) {
		app_module_event->data_list[count++] = APP_DATA_LOCATION;

		/* Set application module timeout when location sampling is requested.
		 * This is selected to be long enough so that most of the GNSS would
		 * have enough time to run to get a fix. We also want it to be smaller than
		 * the sampling interval (120s). So, 110s was selected but we take
		 * minimum of sampling interval minus 5 (just some selected number) and 110.
		 * And mode (active or passive) is taken into account.
		 * If the timeout would become smaller than 5s, we want to ensure some time for
		 * the modules so the minimum value for application module timeout is 5s.
		 */
		app_module_event->timeout = (app_cfg.active_mode) ?
			MIN(app_cfg.active_wait_timeout - 5, 110) :
			MIN(app_cfg.movement_resolution - 5, 110);
		app_module_event->timeout = MAX(app_module_event->timeout, 5);
	}

	/* Set list count to number of data types passed in app_module_event. */
	app_module_event->count = count;
	app_module_event->type = APP_EVT_DATA_GET;

	APP_EVENT_SUBMIT(app_module_event);
}

/* Message handler for STATE_INIT. */
static void on_state_init(struct app_msg_data *msg)
{
	if (IS_EVENT(msg, data, DATA_EVT_CONFIG_INIT)) {
		/* Keep a copy of the new configuration. */
		app_cfg = msg->module.data.data.cfg;

		if (app_cfg.active_mode) {
			active_mode_timers_start_all();
		} else {
			passive_mode_timers_start_all();
		}

		state_set(STATE_RUNNING);
		sub_state_set(app_cfg.active_mode ? SUB_STATE_ACTIVE_MODE :
						    SUB_STATE_PASSIVE_MODE);
	}
}

/* Message handler for STATE_RUNNING. */
static void on_state_running(struct app_msg_data *msg)
{
	/* A flag used to trigger sampling when connected to the cloud for the first time. Cloud
	 * connection re-establishment should not trigger sampling.
	 */
	static bool initial_sampling_requested;

	if (IS_EVENT(msg, cloud, CLOUD_EVT_CONNECTED) && !initial_sampling_requested) {
		data_get();

		initial_sampling_requested = true;
	}

	if (IS_EVENT(msg, app, APP_EVT_DATA_GET_ALL)) {
		data_get();
	}
}

/* Message handler for SUB_STATE_PASSIVE_MODE. */
void on_sub_state_passive(struct app_msg_data *msg)
{
	if (IS_EVENT(msg, data, DATA_EVT_CONFIG_READY)) {
		/* Keep a copy of the new configuration. */
		app_cfg = msg->module.data.data.cfg;

		if (app_cfg.active_mode) {
			active_mode_timers_start_all();
			sub_state_set(SUB_STATE_ACTIVE_MODE);
			return;
		}

		passive_mode_timers_start_all();
	}

	if ((IS_EVENT(msg, sensor, SENSOR_EVT_MOVEMENT_ACTIVITY_DETECTED)) ||
	    (IS_EVENT(msg, sensor, SENSOR_EVT_MOVEMENT_INACTIVITY_DETECTED))) {
		activity_event_handle(msg->module.sensor.type);
	}
}

/* Message handler for SUB_STATE_ACTIVE_MODE. */
static void on_sub_state_active(struct app_msg_data *msg)
{
	if (IS_EVENT(msg, data, DATA_EVT_CONFIG_READY)) {
		/* Keep a copy of the new configuration. */
		app_cfg = msg->module.data.data.cfg;

		if (!app_cfg.active_mode) {
			passive_mode_timers_start_all();
			sub_state_set(SUB_STATE_PASSIVE_MODE);
			return;
		}

		active_mode_timers_start_all();
	}
}

/* Message handler for all states. */
static void on_all_events(struct app_msg_data *msg)
{
	if (IS_EVENT(msg, util, UTIL_EVT_SHUTDOWN_REQUEST)) {
		k_timer_stop(&data_sample_timer);
		k_timer_stop(&movement_timeout_timer);
		k_timer_stop(&movement_resolution_timer);

		SEND_SHUTDOWN_ACK(app, APP_EVT_SHUTDOWN_READY, self.id);
		state_set(STATE_SHUTDOWN);
	}

	if (IS_EVENT(msg, modem, MODEM_EVT_MODEM_STATIC_DATA_READY)) {
		modem_static_sampled = true;
	}

	if (IS_EVENT(msg, app, APP_EVT_DATA_GET)) {
		sample_request_ongoing = true;
	}

	if (IS_EVENT(msg, data, DATA_EVT_DATA_READY)) {
		sample_request_ongoing = false;
	}

	if (IS_EVENT(msg, sensor, SENSOR_EVT_MOVEMENT_IMPACT_DETECTED)) {
		SEND_EVENT(app, APP_EVT_DATA_GET_ALL);
	}
}

int main(void)
{
	int err;
	struct app_msg_data msg = { 0 };

	if (app_event_manager_init()) {
		/* Without the Application Event Manager, the application will not work
		 * as intended. A reboot is required in an attempt to recover.
		 */
		LOG_ERR("Application Event Manager could not be initialized, rebooting...");
		k_sleep(K_SECONDS(5));
		sys_reboot(SYS_REBOOT_COLD);
	} else {
		module_set_state(MODULE_STATE_READY);
		SEND_EVENT(app, APP_EVT_START);

#if defined(CONFIG_NRF_MODEM_LIB)
		modem_init();
#endif
	}

	self.thread_id = k_current_get();

	err = module_start(&self);
	if (err) {
		LOG_ERR("Failed starting module, error: %d", err);
		SEND_ERROR(app, APP_EVT_ERROR, err);
	}

	while (true) {
		module_get_next_msg(&self, &msg);

		switch (state) {
		case STATE_INIT:
			on_state_init(&msg);
			break;
		case STATE_RUNNING:
			switch (sub_state) {
			case SUB_STATE_ACTIVE_MODE:
				on_sub_state_active(&msg);
				break;
			case SUB_STATE_PASSIVE_MODE:
				on_sub_state_passive(&msg);
				break;
			default:
				LOG_ERR("Unknown sub state");
				break;
			}

			on_state_running(&msg);
			break;
		case STATE_SHUTDOWN:
			/* The shutdown state has no transition. */
			break;
		default:
			LOG_ERR("Unknown state");
			break;
		}

		on_all_events(&msg);
	}
	return 0;
}

APP_EVENT_LISTENER(MODULE, app_event_handler);
APP_EVENT_SUBSCRIBE_EARLY(MODULE, cloud_module_event);
APP_EVENT_SUBSCRIBE(MODULE, app_module_event);
APP_EVENT_SUBSCRIBE(MODULE, data_module_event);
APP_EVENT_SUBSCRIBE(MODULE, util_module_event);
APP_EVENT_SUBSCRIBE_FINAL(MODULE, sensor_module_event);
APP_EVENT_SUBSCRIBE_FINAL(MODULE, modem_module_event);
```
